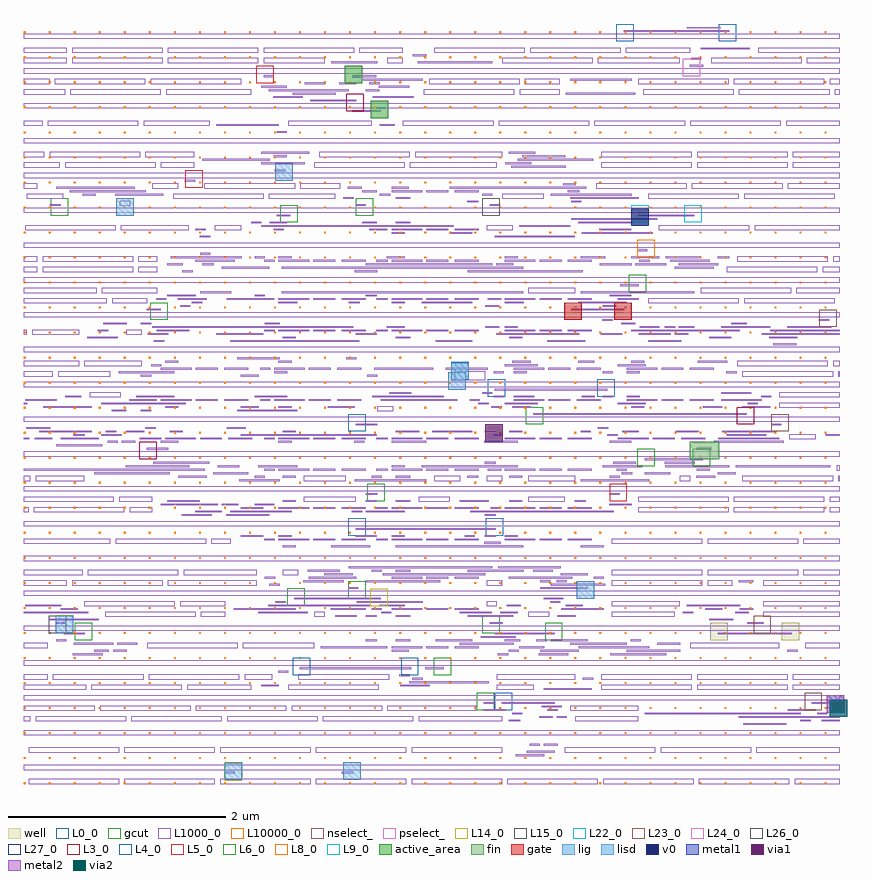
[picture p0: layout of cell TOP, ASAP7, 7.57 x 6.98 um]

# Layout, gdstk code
import gdstk
lib = gdstk.Library(unit=1e-6, precision=1e-09)
def R(c, l, rs):  # rectangles x0, y0, x1, y1
    for r in rs: c.add(gdstk.rectangle(r[:2], r[2:], *l))
def A(c, l, x, y, w, h, nx, ny, dx, dy):  # array of equal rectangles
    R(c, l, [(x+i*dx, y+j*dy, x+i*dx+w, y+j*dy+h) for i in range(nx) for j in range(ny)])
L0_0 = (0, 0)
well = (1, 0)
fin = (2, 0)
L3_0 = (3, 0)
L4_0 = (4, 0)
L5_0 = (5, 0)
L6_0 = (6, 0)
gate = (7, 0)
L8_0 = (8, 0)
L9_0 = (9, 0)
gcut = (10, 0)
active_area = (11, 0)
nselect_ = (12, 0)
pselect_ = (13, 0)
L14_0 = (14, 0)
L15_0 = (15, 0)
lig = (16, 0)
lisd = (17, 0)
v0 = (18, 0)
metal1 = (19, 0)
metal2 = (20, 0)
via1 = (21, 0)
L22_0 = (22, 0)
L23_0 = (23, 0)
L24_0 = (24, 0)
via2 = (25, 0)
L26_0 = (26, 0)
L27_0 = (27, 0)
L1000_0 = (1000, 0)
L10000_0 = (10000, 0)

top = lib.new_cell('TOP')
R(top, L0_0, [(0.576,-2.796,0.736,-2.636), (-0.768,-1.196,-0.608,-1.036), (0.496,-1.196,0.656,-1.036), (-0.768,-0.236,-0.608,-0.076), (0.512,0.084,0.672,0.244), (1.52,0.084,1.68,0.244), (1.696,3.348,1.856,3.508), (2.636,3.348,2.796,3.508)])
R(top, well, [(2.56,-2.156,2.72,-1.996), (3.216,-2.156,3.376,-1.996)])
R(top, fin, [(2.368,-0.492,2.528,-0.332), (2.48,-0.492,2.64,-0.332)])
R(top, L3_0, [(-2.688,-0.492,-2.528,-0.332), (2.8,-0.172,2.96,-0.012), (-0.788,2.708,-0.628,2.868)])
R(top, L4_0, [(-1.28,-2.476,-1.12,-2.316), (-0.284,-2.476,-0.124,-2.316)])
R(top, L5_0, [(1.632,-0.876,1.792,-0.716), (-2.268,2.004,-2.108,2.164), (-1.612,2.964,-1.452,3.124)])
R(top, L6_0, [(1.888,-0.556,2.048,-0.396), (2.396,-0.556,2.556,-0.396)])
R(top, gate, [(1.216,0.788,1.376,0.948), (1.676,0.788,1.836,0.948)])
R(top, L8_0, [(1.888,1.364,2.048,1.524), (-1.44,2.068,-1.28,2.228)])
R(top, L9_0, [(1.832,1.684,1.992,1.844), (2.32,1.684,2.48,1.844)])
R(top, gcut, [(-1.904,-3.436,-1.744,-3.276), (-0.816,-3.436,-0.656,-3.276), (0.412,-2.796,0.572,-2.636), (0.016,-2.476,0.176,-2.316), (-3.28,-2.156,-3.12,-1.996), (1.04,-2.156,1.2,-1.996), (-3.456,-2.092,-3.296,-1.932), (0.464,-2.092,0.624,-1.932), (-1.328,-1.836,-1.168,-1.676), (-0.768,-1.772,-0.608,-1.612), (1.332,-1.772,1.492,-1.612), (-0.592,-0.876,-0.432,-0.716), (0.864,-0.172,1.024,-0.012), (0.152,0.148,0.312,0.308), (0.18,0.244,0.34,0.404), (-2.588,0.788,-2.428,0.948), (1.808,1.044,1.968,1.204), (-1.392,1.684,-1.232,1.844), (-3.504,1.748,-3.344,1.908), (-2.9,1.748,-2.74,1.908), (-0.7,1.748,-0.54,1.908), (0.464,1.748,0.624,1.908)])
R(top, active_area, [(-0.56,2.644,-0.4,2.804), (-0.8,2.964,-0.64,3.124)])
R(top, nselect_, [(3.424,-2.796,3.584,-2.636), (2.956,-2.092,3.116,-1.932), (3.12,-0.236,3.28,-0.076), (3.56,0.724,3.72,0.884)])
R(top, pselect_, [(2.304,3.028,2.464,3.188)])
R(top, L14_0, [(-1.909,-3.444,-1.749,-3.284), (-3.456,-2.084,-3.296,-1.924), (-0.565,-1.844,-0.405,-1.684), (0.18,0.236,0.34,0.396)])
R(top, L15_0, [(-3.52,-2.092,-3.36,-1.932), (0.152,0.148,0.312,0.308), (-2.9,1.748,-2.74,1.908)])
R(top, lig, [(-1.904,-3.436,-1.744,-3.276), (-0.816,-3.436,-0.656,-3.276), (-3.456,-2.092,-3.296,-1.932), (1.332,-1.772,1.492,-1.612), (0.152,0.148,0.312,0.308), (0.18,0.244,0.34,0.404), (-2.9,1.748,-2.74,1.908), (-1.44,2.068,-1.28,2.228)])
R(top, lisd, [(0.18,0.236,0.34,0.396)])
R(top, v0, [(1.832,1.652,1.992,1.812)])
R(top, metal1, [(3.628,-2.82,3.788,-2.66)])
R(top, metal2, [(3.628,-2.82,3.788,-2.66)])
R(top, via1, [(0.492,-0.332,0.652,-0.172)])
R(top, L22_0, [(3.656,-2.86,3.816,-2.7)])
R(top, L23_0, [(0.492,-0.332,0.652,-0.172)])
R(top, L24_0, [(3.656,-2.86,3.816,-2.7)])
R(top, via2, [(3.656,-2.86,3.816,-2.7)])
R(top, L26_0, [(-1.904,-3.436,-1.744,-3.276), (-3.52,-2.092,-3.36,-1.932), (0.464,1.748,0.624,1.908), (-1.44,2.068,-1.28,2.228)])
R(top, L27_0, [(3.656,-2.86,3.816,-2.7)])
A(top, L1000_0, -3.706, -3.476, 0.832, 0.01, 8, 1, 0.88, 0)
A(top, L1000_0, -3.706, -3.466, 0.832, 0.038, 8, 1, 0.88, 0)
A(top, L1000_0, -3.75, -3.348, 7.5, 0.048, 1, 22, 0, 0.32)
A(top, L1000_0, -3.706, -3.188, 0.832, 0.048, 5, 1, 0.88, 0)
A(top, L1000_0, -3.642, -2.9, 0.832, 0.048, 4, 1, 0.88, 0)
A(top, L1000_0, -3.05, -2.804, 0.832, 0.048, 3, 1, 0.88, 0)
A(top, L1000_0, -1.41, -1.236, 0.281, 0.016, 3, 2, 1.04, 0.288)
A(top, L1000_0, -1.09, -1.236, 0.201, 0.016, 3, 2, 1.04, 0.288)
A(top, L1000_0, -0.83, -1.236, 0.221, 0.016, 3, 2, 1.04, 0.288)
A(top, L1000_0, -1.41, -1.204, 0.12, 0.016, 3, 1, 1.04, 0)
A(top, L1000_0, -1.41, -0.596, 0.281, 0.016, 3, 2, 1.04, 1.28)
A(top, L1000_0, -1.09, -0.596, 0.201, 0.016, 3, 2, 1.04, 1.28)
A(top, L1000_0, -0.83, -0.596, 0.221, 0.016, 3, 2, 1.04, 1.28)
A(top, L1000_0, -2.45, -0.308, 0.281, 0.016, 5, 1, 1.04, 0)
A(top, L1000_0, -2.13, -0.308, 0.201, 0.016, 5, 1, 1.04, 0)
A(top, L1000_0, -1.87, -0.308, 0.221, 0.016, 5, 1, 1.04, 0)
A(top, L1000_0, -1.41, 0.972, 0.281, 0.016, 3, 2, 1.04, 0.352)
A(top, L1000_0, -1.09, 0.972, 0.201, 0.016, 3, 2, 1.04, 0.352)
A(top, L1000_0, -0.83, 0.972, 0.221, 0.016, 3, 2, 1.04, 0.352)
A(top, L1000_0, -0.266, 2.572, 0.832, 0.048, 4, 1, 0.88, 0)
A(top, L1000_0, -3.306, 3.244, 0.832, 0.048, 3, 1, 0.88, 0)
R(top, L1000_0, [(3.334,-3.476,3.75,-3.466), (3.334,-3.466,3.75,-3.428), (-1.907,-3.38,-1.813,-3.364), (-0.827,-3.38,-0.725,-3.364), (0.77,-3.22,1.031,-3.204), (0.87,-3.188,1.131,-3.172), (1.222,-3.188,2.054,-3.14), (2.102,-3.188,2.934,-3.14), (2.982,-3.188,3.75,-3.14), (0.898,-3.124,0.992,-3.108), (1.03,-3.124,1.155,-3.108), (2.861,-2.932,3.255,-2.916), (-3.75,-2.9,-3.69,-2.852), (-0.122,-2.9,0.646,-2.852), (0.706,-2.9,0.811,-2.884), (1.318,-2.9,1.894,-2.852), (3.386,-2.9,3.48,-2.884), (3.581,-2.9,3.75,-2.884), (0.986,-2.868,1.111,-2.852), (1.146,-2.868,1.24,-2.852), (2.821,-2.868,3.75,-2.852), (0.738,-2.836,0.832,-2.82), (1.954,-2.836,3.391,-2.82), (3.541,-2.836,3.635,-2.82), (-3.75,-2.804,-3.098,-2.756), (-0.41,-2.804,0.406,-2.756), (0.47,-2.804,0.683,-2.788), (1.058,-2.804,1.155,-2.788), (1.27,-2.804,1.894,-2.756), (3.27,-2.804,3.531,-2.788), (3.693,-2.804,3.75,-2.788), (1.01,-2.772,1.195,-2.756), (3.682,-2.772,3.75,-2.756), (0.478,-2.74,0.572,-2.724), (0.642,-2.74,1.128,-2.724), (3.49,-2.74,3.75,-2.724), (-3.75,-2.612,-3.178,-2.564), (-3.13,-2.612,-2.298,-2.564), (-2.25,-2.612,-1.658,-2.564), (-1.322,-2.612,-0.49,-2.564), (0.598,-2.612,0.934,-2.564), (1.026,-2.612,1.471,-2.596), (1.558,-2.612,2.39,-2.564), (2.438,-2.612,3.27,-2.564), (3.318,-2.612,3.75,-2.564), (-1.566,-2.58,-1.409,-2.564), (-0.29,-2.58,-0.021,-2.564), (-0.21,-2.548,0.523,-2.532), (-3.75,-2.516,-3.53,-2.468), (-3.482,-2.516,-2.65,-2.468), (-2.602,-2.516,-1.77,-2.468), (-1.722,-2.516,-1.466,-2.468), (-1.226,-2.516,-0.394,-2.468), (-0.179,-2.516,-0.085,-2.5), (0.598,-2.516,1.318,-2.468), (1.386,-2.516,1.483,-2.5), (1.558,-2.516,2.39,-2.468), (2.438,-2.516,3.27,-2.468), (3.318,-2.516,3.75,-2.468), (-0.299,-2.484,-0.205,-2.468), (-1.414,-2.452,-1.32,-2.436), (-1.214,-2.42,-0.192,-2.404), (-0.062,-2.42,0.107,-2.404), (-3.299,-2.292,-3.025,-2.276), (0.606,-2.292,0.7,-2.276), (0.981,-2.292,1.255,-2.276), (1.641,-2.292,2.155,-2.276), (-3.102,-2.26,-2.969,-2.244), (-2.93,-2.26,-2.805,-2.244), (-0.37,-2.26,-0.213,-2.244), (0.706,-2.26,0.8,-2.244), (0.994,-2.26,1.351,-2.244), (1.79,-2.26,2.283,-2.244), (3.266,-2.26,3.36,-2.244), (-3.75,-2.228,-3.53,-2.18), (-2.618,-2.228,-1.786,-2.18), (-1.738,-2.228,-1.082,-2.18), (-1.022,-2.228,-0.409,-2.212), (-0.37,-2.228,-0.089,-2.212), (-0.05,-2.228,0.151,-2.212), (0.21,-2.228,0.431,-2.212), (0.802,-2.228,1.031,-2.212), (1.35,-2.228,1.995,-2.212), (2.374,-2.228,3.19,-2.18), (3.43,-2.228,3.75,-2.18), (-3.29,-2.196,-2.929,-2.18), (-2.89,-2.196,-2.709,-2.18), (0.258,-2.196,0.751,-2.18), (1.27,-2.196,1.791,-2.18), (2.07,-2.196,2.283,-2.18), (-3.454,-2.164,-3.36,-2.148), (-0.606,-2.164,-0.505,-2.148), (-0.33,-2.164,-0.197,-2.148), (0.034,-2.164,0.371,-2.148), (0.67,-2.164,0.811,-2.148), (0.961,-2.164,1.055,-2.148), (1.09,-2.164,1.431,-2.148), (1.826,-2.164,1.92,-2.148), (0.45,-2.132,0.77,-2.116), (-3.383,-2.1,-3.189,-2.084), (0.578,-2.1,1.131,-2.084), (2.626,-2.1,3.307,-2.084), (-3.454,-2.004,-3.36,-1.988), (0.533,-2.004,0.651,-1.988), (2.897,-2.004,3.051,-1.988), (-3.51,-1.972,-3.061,-1.956), (2.55,-1.972,2.771,-1.956), (-3.002,-1.94,-2.17,-1.892), (-2.122,-1.94,-1.898,-1.892), (-1.082,-1.94,-0.986,-1.892), (-0.89,-1.94,-0.689,-1.924), (-0.606,-1.94,-0.505,-1.924), (-0.33,-1.94,-0.197,-1.924), (0.33,-1.94,0.747,-1.924), (0.886,-1.94,1.078,-1.892), (1.15,-1.94,1.323,-1.924), (1.654,-1.94,2.23,-1.892), (3.046,-1.94,3.75,-1.892), (-3.75,-1.908,-3.157,-1.892), (-1.598,-1.908,-1.141,-1.892), (-0.467,-1.908,-0.373,-1.892), (0.258,-1.908,0.551,-1.892), (0.63,-1.908,0.791,-1.892), (2.306,-1.908,2.4,-1.892), (2.786,-1.908,2.911,-1.892), (-3.41,-1.876,-3.253,-1.86), (-1.822,-1.876,-1.249,-1.86), (-0.93,-1.876,-0.609,-1.86), (-0.554,-1.876,-0.46,-1.86), (-0.37,-1.876,-0.089,-1.86), (-0.05,-1.876,0.151,-1.86), (0.21,-1.876,0.431,-1.86), (1.19,-1.876,1.579,-1.86), (2.51,-1.876,2.667,-1.86), (2.83,-1.876,2.955,-1.86), (-3.739,-1.844,-3.405,-1.828), (-3.194,-1.844,-2.362,-1.796), (-2.314,-1.844,-1.898,-1.796), (-1.502,-1.844,-0.565,-1.828), (-0.478,-1.844,-0.25,-1.828), (0.502,-1.844,0.598,-1.796), (0.69,-1.844,0.815,-1.828), (1.23,-1.844,1.387,-1.828), (1.654,-1.844,2.278,-1.796), (2.341,-1.844,2.835,-1.828), (3.046,-1.844,3.75,-1.796), (-1.438,-1.812,-1.344,-1.796), (-0.69,-1.812,-0.085,-1.796), (1.086,-1.812,1.18,-1.796), (-1.263,-1.78,-0.469,-1.764), (1.026,-1.78,1.208,-1.764), (-0.77,-1.684,-0.676,-1.668), (0.994,-1.684,1.427,-1.668), (-3.75,-1.652,-3.354,-1.604), (-3.306,-1.652,-2.474,-1.604), (-2.426,-1.652,-1.61,-1.604), (-1.494,-1.652,-1.397,-1.636), (0.502,-1.652,0.646,-1.604), (1.09,-1.652,1.591,-1.636), (1.654,-1.652,2.486,-1.604), (2.534,-1.652,2.758,-1.604), (3.046,-1.652,3.75,-1.604), (-1.182,-1.62,-0.809,-1.604), (-0.606,-1.62,0.075,-1.604), (0.994,-1.62,1.088,-1.604), (1.146,-1.62,1.24,-1.604), (2.818,-1.62,2.955,-1.604), (-1.534,-1.588,-1.44,-1.572), (-1.13,-1.588,-0.693,-1.572), (-0.37,-1.588,-0.089,-1.572), (-0.05,-1.588,0.151,-1.572), (0.21,-1.588,0.431,-1.572), (0.706,-1.588,1.291,-1.572), (1.485,-1.588,1.579,-1.572), (-3.75,-1.556,-3.21,-1.508), (-3.162,-1.556,-2.33,-1.508), (-2.282,-1.556,-1.61,-1.508), (-1.37,-1.556,-1.226,-1.508), (-0.99,-1.556,-0.729,-1.54), (-0.45,-1.556,0.491,-1.54), (1.186,-1.556,1.431,-1.54), (1.654,-1.556,2.486,-1.508), (2.534,-1.556,3.366,-1.508), (3.414,-1.556,3.75,-1.508), (-1.139,-1.524,-0.845,-1.508), (-0.554,-1.524,-0.46,-1.508), (-0.33,-1.524,-0.197,-1.508), (0.33,-1.524,0.843,-1.508), (0.93,-1.524,1.111,-1.508), (-0.766,-1.492,0.555,-1.476), (0.61,-1.492,1.182,-1.476), (-1.37,-1.3,-1.25,-1.284), (-0.926,-1.3,-0.565,-1.284), (-0.33,-1.3,0.838,-1.284), (1.37,-1.3,1.579,-1.284), (-3.75,-1.268,-2.954,-1.22), (-2.906,-1.268,-2.074,-1.22), (-2.026,-1.268,-1.85,-1.22), (0.482,-1.268,0.631,-1.252), (1.654,-1.268,2.486,-1.22), (2.534,-1.268,3.366,-1.22), (3.414,-1.268,3.75,-1.22), (-1.539,-1.236,-1.445,-1.22), (-0.51,-1.236,-0.405,-1.22), (-1.758,-1.204,-1.549,-1.188), (-0.702,-1.204,-0.509,-1.188), (0.301,-1.204,0.395,-1.188), (0.486,-1.204,0.587,-1.188), (-0.702,-1.14,0.587,-1.124), (-2.299,-1.012,-2.025,-0.996), (-1.89,-1.012,-1.493,-0.996), (0.486,-1.012,0.587,-0.996), (-3.75,-0.98,-3.706,-0.932), (-3.658,-0.98,-2.826,-0.932), (-2.778,-0.98,-2.57,-0.932), (-2.174,-0.98,-1.929,-0.964), (-1.854,-0.98,-1.29,-0.964), (-0.735,-0.98,-0.641,-0.964), (-0.606,-0.98,-0.25,-0.964), (0.354,-0.98,1.671,-0.964), (1.894,-0.98,2.726,-0.932), (2.774,-0.98,3.606,-0.932), (3.654,-0.98,3.75,-0.932), (-1.758,-0.948,-1.549,-0.932), (-0.51,-0.948,-0.405,-0.932), (0.541,-0.948,0.635,-0.932), (-2.494,-0.916,-1.969,-0.9), (-1.93,-0.916,-1.781,-0.9), (-1.63,-0.916,-1.449,-0.9), (1.63,-0.916,1.835,-0.9), (-3.75,-0.884,-2.922,-0.836), (-2.874,-0.884,-2.57,-0.836), (-2.43,-0.884,-2.133,-0.868), (-1.37,-0.884,-1.25,-0.868), (-1.178,-0.884,-0.698,-0.836), (-0.606,-0.884,-0.505,-0.868), (-0.33,-0.884,-0.197,-0.868), (-0.122,-0.884,0.166,-0.836), (0.258,-0.884,0.523,-0.868), (0.71,-0.884,0.83,-0.868), (0.886,-0.884,1.222,-0.836), (1.314,-0.884,1.415,-0.868), (1.894,-0.884,2.726,-0.836), (2.774,-0.884,3.606,-0.836), (3.654,-0.884,3.75,-0.836), (-0.606,-0.82,-0.501,-0.804), (1.63,-0.82,1.724,-0.804), (-3.75,-0.692,-3.69,-0.644), (-3.642,-0.692,-3.194,-0.644), (-1.77,-0.692,-1.397,-0.676), (-1.178,-0.692,-0.794,-0.644), (-0.71,-0.692,-0.053,-0.676), (0.022,-0.692,0.262,-0.644), (0.502,-0.692,0.646,-0.644), (0.886,-0.692,1.318,-0.644), (1.37,-0.692,1.995,-0.676), (2.278,-0.692,2.374,-0.644), (2.854,-0.692,3.686,-0.644), (3.734,-0.692,3.75,-0.644), (-2.33,-0.66,-2.069,-0.644), (-1.63,-0.66,-1.536,-0.644), (-1.37,-0.66,-1.25,-0.644), (-0.554,-0.66,-0.46,-0.644), (-0.33,-0.66,-0.197,-0.644), (0.326,-0.66,0.427,-0.644), (0.71,-0.66,0.83,-0.644), (1.634,-0.66,1.728,-0.644), (2.43,-0.66,2.603,-0.644), (-3.102,-0.628,-2.409,-0.612), (-2.01,-0.628,-1.689,-0.612), (1.746,-0.628,1.84,-0.612), (1.954,-0.628,2.191,-0.612), (2.626,-0.628,2.791,-0.612), (-3.75,-0.596,-2.089,-0.58), (-1.539,-0.596,-1.445,-0.58), (-0.51,-0.596,-0.405,-0.58), (0.514,-0.596,0.635,-0.58), (1.698,-0.596,1.792,-0.58), (2.434,-0.596,2.555,-0.58), (3.718,-0.596,3.75,-0.548), (-2.814,-0.564,-2.229,-0.548), (-1.97,-0.564,-1.769,-0.548), (-1.598,-0.564,-1.237,-0.548), (-0.37,-0.564,-0.25,-0.548), (-0.094,-0.564,0.79,-0.548), (1.57,-0.564,1.931,-0.548), (2.146,-0.564,2.731,-0.548), (2.79,-0.564,3.659,-0.548), (-2.559,-0.532,-2.045,-0.516), (0.486,-0.532,0.587,-0.516), (1.666,-0.532,1.871,-0.516), (2.141,-0.532,2.415,-0.516), (1.954,-0.5,2.488,-0.484), (-2.622,-0.404,-2.421,-0.388), (2.434,-0.404,2.571,-0.388), (-3.454,-0.372,-3.029,-0.356), (-2.979,-0.34,-2.885,-0.324), (-2.85,-0.34,-2.725,-0.324), (-2.494,-0.34,-2.33,-0.324), (-1.41,-0.34,-1.29,-0.324), (-0.714,-0.34,-0.62,-0.324), (-0.37,-0.34,-0.053,-0.324), (0.482,-0.34,0.79,-0.324), (1.634,-0.34,1.83,-0.324), (2.59,-0.34,3.231,-0.324), (-3.75,-0.308,-3.701,-0.292), (-3.65,-0.308,-3.489,-0.292), (-3.41,-0.308,-3.061,-0.292), (-2.686,-0.308,-2.489,-0.292), (-1.539,-0.308,-1.445,-0.292), (-0.51,-0.308,-0.405,-0.292), (2.63,-0.308,3.191,-0.292), (3.286,-0.308,3.526,-0.26), (-3.294,-0.276,-3.189,-0.26), (-3.038,-0.276,-2.849,-0.26), (-1.758,-0.276,-0.509,-0.26), (0.557,-0.276,0.651,-0.26), (1.613,-0.276,1.707,-0.26), (2.71,-0.276,3.071,-0.26), (3.618,-0.276,3.75,-0.26), (-3.61,-0.244,-3.125,-0.228), (-2.995,-0.244,-2.901,-0.228), (-2.81,-0.244,-2.645,-0.228), (-2.41,-0.244,-2.29,-0.228), (-1.37,-0.244,-1.25,-0.228), (-0.33,-0.244,-0.117,-0.228), (0.002,-0.244,0.371,-0.228), (0.486,-0.244,0.587,-0.228), (0.71,-0.244,0.83,-0.228), (1.366,-0.244,1.46,-0.228), (1.75,-0.244,1.899,-0.228), (2.242,-0.244,2.451,-0.228), (2.67,-0.244,3.151,-0.228), (-3.73,-0.212,-3.509,-0.196), (-2.634,-0.212,-2.54,-0.196), (-1.886,-0.212,-1.709,-0.196), (1.526,-0.212,1.62,-0.196), (-0.702,-0.18,-0.501,-0.164), (3.117,-0.18,3.211,-0.164), (0.93,-0.084,2.891,-0.068), (-2.942,-0.052,-2.809,-0.036), (-2.674,-0.052,-2.58,-0.036), (-1.79,-0.052,-1.237,-0.036), (-0.502,-0.052,-0.354,-0.004), (-3.57,-0.02,-3.125,-0.004), (-2.45,-0.02,-2.33,-0.004), (-1.758,-0.02,-1.589,-0.004), (-1.41,-0.02,-1.29,-0.004), (-0.958,-0.02,-0.709,-0.004), (0.546,-0.02,0.64,-0.004), (0.738,-0.02,0.91,-0.004), (1.83,-0.02,1.95,-0.004), (2.49,-0.02,2.667,-0.004), (2.85,-0.02,3.111,-0.004), (3.19,-0.02,3.75,0.028), (-3.75,0.012,-3.72,0.028), (-3.038,0.012,-2.261,0.028), (0.426,0.012,0.523,0.028), (0.67,0.012,0.971,0.028), (1.71,0.012,1.963,0.028), (2.901,0.012,2.995,0.028), (-3.739,0.044,-3.449,0.06), (-2.782,0.044,-2.529,0.06), (-2.49,0.044,-2.209,0.06), (-2.17,0.044,-1.969,0.06), (-1.91,0.044,-1.689,0.06), (-1.579,0.044,-1.485,0.06), (-1.45,0.044,-1.169,0.06), (-1.13,0.044,-0.929,0.06), (-0.87,0.044,-0.649,0.06), (-0.471,0.044,0.231,0.06), (0.346,0.044,0.44,0.06), (0.75,0.044,1.031,0.06), (1.07,0.044,1.271,0.06), (1.33,0.044,1.551,0.06), (1.79,0.044,2.071,0.06), (2.11,0.044,2.311,0.06), (2.37,0.044,2.591,0.06), (2.658,0.044,3.031,0.06), (-3.37,0.076,-3.221,0.092), (-3.146,0.076,-2.858,0.124), (-2.718,0.076,-2.37,0.092), (-1.63,0.076,-1.33,0.092), (-0.55,0.076,0.111,0.092), (0.566,0.076,0.66,0.092), (0.75,0.076,0.939,0.092), (1.378,0.076,1.495,0.092), (1.57,0.076,1.664,0.092), (1.79,0.076,1.91,0.092), (3.026,0.076,3.12,0.092), (3.19,0.076,3.75,0.124), (-0.39,0.108,-0.189,0.124), (0.461,0.108,0.555,0.124), (2.661,0.108,2.935,0.124), (0.578,0.14,1.611,0.156), (0.21,0.236,0.49,0.316), (-3.75,0.268,-3.482,0.316), (-3.434,0.268,-2.954,0.316), (-2.675,0.268,-2.581,0.284), (-1.758,0.268,-1.589,0.284), (-0.595,0.268,-0.501,0.284), (2.854,0.268,3.686,0.316), (3.734,0.268,3.75,0.316), (-2.878,0.3,-2.37,0.316), (-1.45,0.3,-1.33,0.316), (0.566,0.3,0.66,0.316), (0.75,0.3,0.87,0.316), (1.57,0.3,1.664,0.316), (1.79,0.3,1.91,0.316), (2.706,0.3,2.8,0.316), (-2.49,0.332,-2.209,0.348), (-2.17,0.332,-1.969,0.348), (-1.91,0.332,-1.689,0.348), (-1.579,0.332,-1.485,0.348), (-1.45,0.332,-1.169,0.348), (-1.13,0.332,-0.929,0.348), (-0.87,0.332,-0.649,0.348), (-0.53,0.332,0.014,0.348), (0.129,0.332,0.511,0.348), (0.75,0.332,1.031,0.348), (1.07,0.332,1.271,0.348), (1.33,0.332,1.551,0.348), (1.79,0.332,2.071,0.348), (2.11,0.332,2.311,0.348), (2.37,0.332,2.591,0.348), (-3.75,0.364,-3.242,0.412), (-3.194,0.364,-2.666,0.412), (-2.579,0.364,-2.485,0.38), (0.67,0.364,0.971,0.38), (1.71,0.364,1.963,0.38), (2.806,0.364,3.638,0.412), (3.686,0.364,3.75,0.412), (-2.45,0.396,-2.33,0.412), (-1.41,0.396,-1.29,0.412), (0.738,0.396,0.91,0.412), (1.346,0.396,1.491,0.412), (1.83,0.396,1.95,0.412), (2.441,0.396,2.715,0.412), (-1.79,0.428,-1.397,0.444), (-0.787,0.428,-0.693,0.444), (3.138,0.556,3.347,0.572), (-2.555,0.588,-2.461,0.604), (-1.854,0.588,-0.669,0.604), (0.034,0.588,0.371,0.604), (1.058,0.588,1.411,0.604), (1.986,0.588,2.29,0.604), (-3.166,0.62,-2.889,0.636), (-1.37,0.62,-1.25,0.636), (-0.33,0.62,-0.197,0.636), (0.71,0.62,0.83,0.636), (2.55,0.62,2.751,0.636), (3.101,0.62,3.355,0.636), (-3.75,0.652,-3.722,0.7), (-3.674,0.652,-3.242,0.7), (-2.81,0.652,-2.666,0.7), (-2.61,0.652,-2.421,0.668), (-1.982,0.652,-1.549,0.668), (-0.702,0.652,-0.509,0.668), (0.59,0.652,1.355,0.668), (1.55,0.652,1.751,0.668), (1.901,0.652,2.195,0.668), (2.23,0.652,2.355,0.668), (3.03,0.652,3.75,0.668), (-3.07,0.684,-2.976,0.7), (-2.53,0.684,-2.229,0.7), (-1.539,0.684,-1.445,0.7), (-0.51,0.684,-0.405,0.7), (1.83,0.684,2.831,0.7), (3.11,0.684,3.75,0.7), (-2.57,0.716,-0.725,0.732), (-0.414,0.716,-0.25,0.732), (0.49,0.716,0.619,0.732), (0.67,0.716,0.79,0.732), (1.91,0.716,2.091,0.732), (2.141,0.716,2.235,0.732), (2.27,0.716,2.411,0.732), (2.658,0.716,3.111,0.732), (3.266,0.716,3.671,0.732), (-3.018,0.748,-2.805,0.764), (-2.675,0.748,-2.581,0.764), (-1.534,0.748,-1.397,0.764), (1.742,0.748,1.867,0.764), (2.75,0.748,2.891,0.764), (1.566,0.78,1.66,0.796), (3.554,0.78,3.652,0.796), (-2.622,0.876,-2.493,0.892), (1.282,0.876,1.768,0.892), (-2.314,0.908,-2.22,0.924), (0.49,0.908,0.619,0.924), (1.57,0.908,1.695,0.924), (-3.75,0.94,-2.986,0.988), (-2.938,0.94,-2.618,0.988), (-2.206,0.94,-2.112,0.956), (-1.41,0.94,-1.237,0.956), (-0.766,0.94,-0.665,0.956), (-0.37,0.94,-0.25,0.956), (-0.094,0.94,0.371,0.956), (0.67,0.94,0.843,0.956), (1.346,0.94,1.791,0.956), (1.99,0.94,2.822,0.988), (2.87,0.94,3.702,0.988), (-2.534,0.972,-2.44,0.988), (-2.334,0.972,-2.069,0.988), (-1.886,0.972,-1.449,0.988), (-0.51,0.972,-0.405,0.988), (0.514,0.972,0.635,0.988), (1.71,0.972,1.899,0.988), (-2.43,1.004,-2.169,1.02), (-1.63,1.004,-1.536,1.02), (-0.606,1.004,-0.505,1.02), (1.634,1.004,1.831,1.02), (-3.75,1.036,-3.082,1.084), (-3.034,1.036,-2.522,1.084), (-2.13,1.036,-1.845,1.052), (-1.378,1.036,0.838,1.052), (0.886,1.036,1.318,1.084), (1.37,1.036,2.411,1.052), (2.47,1.036,3.302,1.084), (3.35,1.036,3.75,1.084), (1.73,1.1,1.899,1.116), (-3.75,1.228,-3.626,1.276), (-3.578,1.228,-2.746,1.276), (-2.698,1.228,-2.522,1.276), (-2.294,1.228,-2.2,1.244), (-0.71,1.228,-0.501,1.244), (0.33,1.228,1.387,1.244), (2.71,1.228,3.542,1.276), (3.59,1.228,3.75,1.276), (-1.93,1.26,-1.493,1.276), (-1.378,1.26,0.838,1.276), (2.23,1.26,2.591,1.276), (-2.43,1.292,-2.289,1.308), (-2.11,1.292,-2.005,1.308), (-0.606,1.292,0.555,1.308), (0.59,1.292,0.747,1.308), (1.541,1.292,1.835,1.308), (1.87,1.292,2.155,1.308), (2.27,1.292,2.631,1.308), (-3.75,1.324,-3.626,1.372), (-3.578,1.324,-2.746,1.372), (-2.698,1.324,-2.522,1.372), (-2.174,1.324,-1.813,1.34), (-1.539,1.324,-1.445,1.34), (-0.51,1.324,-0.405,1.34), (1.906,1.324,2,1.34), (2.19,1.324,2.551,1.34), (2.806,1.324,3.638,1.372), (3.686,1.324,3.75,1.372), (-2.398,1.356,-1.749,1.372), (-1.63,1.356,-1.536,1.372), (-1.41,1.356,-1.29,1.372), (-0.414,1.356,-0.25,1.372), (0.67,1.356,0.79,1.372), (1.37,1.356,1.591,1.372), (1.83,1.356,2.091,1.372), (2.15,1.356,2.471,1.372), (2.626,1.356,2.731,1.372), (-2.131,1.388,-2.037,1.404), (1.886,1.42,1.98,1.436), (-2.134,1.548,-2.037,1.564), (0.578,1.548,1.311,1.564), (-0.37,1.58,-0.25,1.596), (0.162,1.58,0.371,1.596), (1.378,1.58,2.031,1.596), (-3.738,1.612,-2.906,1.66), (-2.858,1.612,-2.234,1.66), (-2.174,1.612,-2.08,1.628), (-1.994,1.612,-1.754,1.66), (-1.454,1.612,-1.36,1.628), (-0.574,1.612,-0.409,1.628), (-0.37,1.612,-0.089,1.628), (-0.05,1.612,0.151,1.628), (0.21,1.612,0.431,1.628), (0.502,1.612,0.742,1.66), (1.538,1.612,1.831,1.628), (2.086,1.612,2.918,1.66), (2.966,1.612,3.75,1.66), (-1.57,1.644,0.203,1.66), (0.802,1.644,1.271,1.66), (-1.662,1.676,-1.568,1.692), (-1.49,1.676,-1.329,1.692), (-0.638,1.676,-0.509,1.692), (-0.33,1.676,-0.197,1.692), (1.346,1.676,1.911,1.692), (1.282,1.708,2.071,1.724), (-1.427,1.74,-1.301,1.756), (1.897,1.74,2.411,1.756), (-3.514,1.836,-3.413,1.852), (-2.87,1.836,-2.774,1.884), (-0.702,1.836,-0.608,1.852), (0.533,1.836,0.627,1.852), (0.326,1.868,0.427,1.884), (1.28,1.868,1.374,1.884), (-3.722,1.9,-3.386,1.948), (-2.378,1.9,-1.546,1.948), (-1.498,1.9,-0.89,1.948), (-0.814,1.9,-0.72,1.916), (-0.33,1.9,-0.197,1.916), (0.646,1.9,1.03,1.948), (1.27,1.9,1.899,1.916), (1.99,1.9,2.822,1.948), (2.87,1.9,3.702,1.948), (-3.21,1.932,-3.09,1.948), (-2.91,1.932,-2.469,1.948), (-0.478,1.932,-0.384,1.948), (0.461,1.932,0.555,1.948), (1.09,1.932,1.835,1.948), (-3.33,1.964,-2.629,1.98), (-0.638,1.964,-0.509,1.98), (-0.37,1.964,-0.089,1.98), (-0.05,1.964,0.151,1.98), (0.21,1.964,0.431,1.98), (1.25,1.964,1.355,1.98), (-3.75,1.996,-3.626,2.044), (-3.45,1.996,-2.729,2.012), (-2.57,1.996,-2.33,2.044), (-2.09,1.996,-1.258,2.044), (-1.21,1.996,-0.842,2.044), (-0.774,1.996,-0.645,2.012), (-0.37,1.996,-0.213,2.012), (0.162,1.996,1.419,2.012), (1.51,1.996,2.342,2.044), (2.39,1.996,3.222,2.044), (3.27,1.996,3.75,2.044), (1.206,2.028,1.323,2.044), (-2.27,2.06,-2.176,2.076), (-1.442,2.156,-1.348,2.172), (-3.75,2.188,-3.418,2.236), (-3.37,2.188,-2.538,2.236), (-2.49,2.188,-2.186,2.236), (-1.082,2.188,-0.25,2.236), (-0.202,2.188,0.598,2.236), (0.73,2.188,1.231,2.204), (1.558,2.188,2.39,2.236), (2.438,2.188,3.27,2.236), (3.318,2.188,3.75,2.236), (-1.566,2.22,-1.169,2.236), (0.674,2.22,0.911,2.236), (-2.11,2.252,-1.489,2.268), (0.79,2.252,1.483,2.268), (-3.75,2.284,-3.562,2.332), (-3.514,2.284,-2.682,2.332), (-2.634,2.284,-2.186,2.332), (-1.454,2.284,-1.333,2.3), (-1.034,2.284,-0.202,2.332), (-0.154,2.284,0.646,2.332), (0.83,2.284,1.227,2.3), (1.558,2.284,2.39,2.332), (2.438,2.284,3.27,2.332), (3.318,2.284,3.75,2.332), (-1.57,2.316,-1.129,2.332), (0.706,2.316,0.951,2.332), (-1.427,2.508,-1.333,2.524), (-3.75,2.572,-3.578,2.62), (-3.53,2.572,-2.698,2.62), (-2.65,2.572,-2.042,2.62), (-1.982,2.572,-1.409,2.588), (-1.322,2.572,-0.554,2.62), (-0.478,2.572,-0.341,2.588), (3.254,2.572,3.75,2.62), (-0.734,2.7,-0.469,2.716), (-1.118,2.796,-0.693,2.812), (-1.459,2.828,-1.185,2.844), (-0.542,2.828,-0.169,2.844), (-3.75,2.86,-3.37,2.908), (-3.322,2.86,-2.49,2.908), (-2.442,2.86,-1.658,2.908), (-1.278,2.86,-0.885,2.876), (-0.074,2.86,0.758,2.908), (0.806,2.86,1.174,2.908), (1.23,2.86,1.867,2.876), (1.942,2.86,2.774,2.908), (2.822,2.86,3.654,2.908), (3.702,2.86,3.75,2.908), (-1.499,2.892,-0.765,2.908), (-0.606,2.892,-0.485,2.908), (-1.57,2.924,-1.333,2.94), (-0.49,2.924,-0.209,2.94), (-3.75,2.956,-3.514,3.004), (-3.466,2.956,-2.634,3.004), (-2.586,2.956,-1.754,3.004), (-1.17,2.956,-0.981,2.972), (-0.85,2.956,-0.693,2.972), (-0.574,2.956,-0.48,2.972), (-0.026,2.956,0.806,3.004), (0.854,2.956,1.174,3.004), (1.894,2.956,2.726,3.004), (2.774,2.956,3.606,3.004), (3.654,2.956,3.75,3.004), (-0.63,2.988,-0.085,3.004), (1.27,2.988,1.835,3.004), (-1.547,3.02,-1.453,3.036), (-0.734,3.02,-0.512,3.036), (2.37,3.116,2.492,3.132), (-3.75,3.148,-3.354,3.196), (-3.306,3.148,-2.474,3.196), (-2.426,3.148,-1.594,3.196), (-1.546,3.148,-0.986,3.196), (-0.926,3.148,-0.501,3.164), (-0.41,3.148,-0.266,3.196), (-0.13,3.148,0.555,3.164), (0.646,3.148,1.478,3.196), (1.526,3.148,2.278,3.196), (2.566,3.148,3.398,3.196), (3.446,3.148,3.75,3.196), (2.381,3.18,2.475,3.196), (-0.174,3.212,-0.053,3.228), (-3.75,3.244,-3.354,3.292), (-0.666,3.244,-0.266,3.292), (0.022,3.244,0.854,3.292), (0.902,3.244,1.734,3.292), (1.782,3.244,2.374,3.292), (2.998,3.244,3.75,3.292), (2.47,3.276,2.923,3.292), (1.762,3.436,2.731,3.452), (2.341,3.468,2.655,3.476)])
A(top, L10000_0, -3.75, -3.476, 0.016, 0.016, 33, 31, 0.23, 0.23)

lib.write_gds('TOP.gds')
